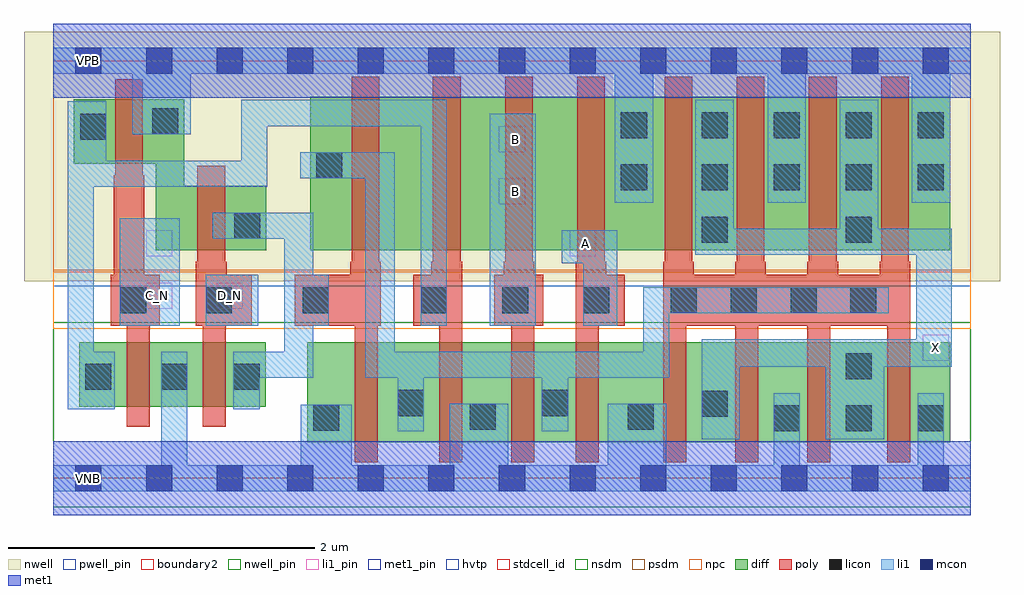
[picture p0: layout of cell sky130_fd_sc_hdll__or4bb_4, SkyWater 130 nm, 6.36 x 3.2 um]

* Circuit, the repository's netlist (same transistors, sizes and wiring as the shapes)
* Copyright 2020 The SkyWater PDK Authors
*
* Licensed under the Apache License, Version 2.0 (the "License");
* you may not use this file except in compliance with the License.
* You may obtain a copy of the License at
*
*     https://www.apache.org/licenses/LICENSE-2.0
*
* Unless required by applicable law or agreed to in writing, software
* distributed under the License is distributed on an "AS IS" BASIS,
* WITHOUT WARRANTIES OR CONDITIONS OF ANY KIND, either express or implied.
* See the License for the specific language governing permissions and
* limitations under the License.
*
* SPDX-License-Identifier: Apache-2.0

.SUBCKT sky130_fd_sc_hdll__or4bb_4 A B C_N D_N VGND VNB VPB VPWR X
*.PININFO A:I B:I C_N:I D_N:I VGND:I VNB:I VPB:I VPWR:I X:O
MMP0 VPWR A sndPA VPB sky130_fd_pr__pfet_01v8_hvt m=1 w=1.0U l=0.18U mult=1 sa=0.265
+ sb=0.265 sd=0.28 area=0.063 perim=1.14
MMP1 sndPA B sndPB VPB sky130_fd_pr__pfet_01v8_hvt m=1 w=1.0U l=0.18U mult=1 sa=0.265
+ sb=0.265 sd=0.28 area=0.063 perim=1.14
MMP2 sndPB C sndPC VPB sky130_fd_pr__pfet_01v8_hvt m=1 w=1.0U l=0.18U mult=1 sa=0.265
+ sb=0.265 sd=0.28 area=0.063 perim=1.14
MMP3 sndPC D y VPB sky130_fd_pr__pfet_01v8_hvt m=1 w=1.0U l=0.18U mult=1 sa=0.265
+ sb=0.265 sd=0.28 area=0.063 perim=1.14
MMIP2 C C_N VPWR VPB sky130_fd_pr__pfet_01v8_hvt m=1 w=0.42U l=0.18U mult=1 sa=0.265
+ sb=0.265 sd=0.28 area=0.063 perim=1.14
MMIP3 D D_N VPWR VPB sky130_fd_pr__pfet_01v8_hvt m=1 w=0.42U l=0.18U mult=1 sa=0.265
+ sb=0.265 sd=0.28 area=0.063 perim=1.14
MMIP4 X y VPWR VPB sky130_fd_pr__pfet_01v8_hvt m=4 w=1.0U l=0.18U mult=1 sa=0.265
+ sb=0.265 sd=0.28 area=0.063 perim=1.14
MMN0 y A VGND VNB sky130_fd_pr__nfet_01v8 m=1 w=0.65U l=0.15U mult=1 sa=0.265 sb=0.265
+ sd=0.28 area=0.063 perim=1.14
MMN1 y B VGND VNB sky130_fd_pr__nfet_01v8 m=1 w=0.65U l=0.15U mult=1 sa=0.265 sb=0.265
+ sd=0.28 area=0.063 perim=1.14
MMN2 y C VGND VNB sky130_fd_pr__nfet_01v8 m=1 w=0.65U l=0.15U mult=1 sa=0.265 sb=0.265
+ sd=0.28 area=0.063 perim=1.14
MMN3 y D VGND VNB sky130_fd_pr__nfet_01v8 m=1 w=0.65U l=0.15U mult=1 sa=0.265 sb=0.265
+ sd=0.28 area=0.063 perim=1.14
MMIN2 C C_N VGND VNB sky130_fd_pr__nfet_01v8 m=1 w=0.42U l=0.15U mult=1 sa=0.265
+ sb=0.265 sd=0.28 area=0.063 perim=1.14
MMIN3 D D_N VGND VNB sky130_fd_pr__nfet_01v8 m=1 w=0.42U l=0.15U mult=1 sa=0.265
+ sb=0.265 sd=0.28 area=0.063 perim=1.14
MMIN4 X y VGND VNB sky130_fd_pr__nfet_01v8 m=4 w=0.65U l=0.15U mult=1 sa=0.265
+ sb=0.265 sd=0.28 area=0.063 perim=1.14
.ENDS sky130_fd_sc_hdll__or4bb_4

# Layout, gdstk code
import gdstk
lib = gdstk.Library(unit=1e-6, precision=1e-09)
def R(c, l, rs):  # rectangles x0, y0, x1, y1
    for r in rs: c.add(gdstk.rectangle(r[:2], r[2:], *l))
def A(c, l, x, y, w, h, nx, ny, dx, dy):  # array of equal rectangles
    R(c, l, [(x+i*dx, y+j*dy, x+i*dx+w, y+j*dy+h) for i in range(nx) for j in range(ny)])
def P(c, l, *ps):  # polygons
    for p in ps: c.add(gdstk.Polygon(p, *l))
nwell_pin = (64, 16)
nwell = (64, 20)
diff = (65, 20)
poly = (66, 20)
licon = (66, 44)
li1_pin = (67, 16)
li1 = (67, 20)
mcon = (67, 44)
met1_pin = (68, 16)
met1 = (68, 20)
hvtp = (78, 44)
stdcell_id = (81, 4)
nsdm = (93, 44)
psdm = (94, 20)
npc = (95, 20)
pwell_pin = (122, 16)
boundary2 = (236, 0)

sky130_fd_sc_hdll__or4bb = lib.new_cell('sky130_fd_sc_hdll__or4bb_4')
R(sky130_fd_sc_hdll__or4bb, nwell_pin, [(0.145,2.635,0.315,2.805)])
R(sky130_fd_sc_hdll__or4bb, nwell, [(-0.19,1.285,6.17,2.91)])
R(sky130_fd_sc_hdll__or4bb, diff, [(1.655,0.235,5.845,0.885), (0.17,0.465,1.385,0.885), (1.675,1.485,5.845,2.485)])
P(sky130_fd_sc_hdll__or4bb, diff, [(1.39,1.905),(0.855,1.905),(0.855,2.47),(0.135,2.47),(0.135,2.05),(0.67,2.05),(0.67,1.485),(1.39,1.485)])
P(sky130_fd_sc_hdll__or4bb, poly, [(0.695,1.325),(0.595,1.325),(0.595,1.975),(0.585,1.975),(0.585,2.6),(0.405,2.6),(0.405,1.975),(0.395,1.975),(0.395,1.325),(0.375,1.325),(0.375,0.995),(0.48,0.995),(0.48,0.335),(0.63,0.335),(0.63,0.995),(0.695,0.995)],
  [(1.295,1.325),(1.13,1.325),(1.13,1.41),(1.12,1.41),(1.12,2.035),(0.94,2.035),(0.94,1.41),(0.93,1.41),(0.93,0.995),(0.975,0.995),(0.975,0.335),(1.125,0.335),(1.125,0.995),(1.295,0.995)],
  [(2.135,1.41),(2.125,1.41),(2.125,2.615),(1.945,2.615),(1.945,1.41),(1.935,1.41),(1.935,1.325),(1.575,1.325),(1.575,0.995),(1.965,0.995),(1.965,0.105),(2.115,0.105),(2.115,0.995),(2.135,0.995)],
  [(2.665,1.41),(2.655,1.41),(2.655,2.615),(2.475,2.615),(2.475,1.41),(2.465,1.41),(2.465,1.325),(2.345,1.325),(2.345,0.995),(2.515,0.995),(2.515,0.105),(2.665,0.105)],
  [(3.195,1.325),(3.135,1.325),(3.135,1.41),(3.125,1.41),(3.125,2.615),(2.945,2.615),(2.945,1.41),(2.935,1.41),(2.935,1.325),(2.875,1.325),(2.875,0.995),(2.985,0.995),(2.985,0.105),(3.135,0.105),(3.135,0.995),(3.195,0.995)],
  [(3.725,1.325),(3.605,1.325),(3.605,1.41),(3.595,1.41),(3.595,2.615),(3.415,2.615),(3.415,1.41),(3.405,1.41),(3.405,0.105),(3.555,0.105),(3.555,0.995),(3.725,0.995)],
  [(5.585,1.41),(5.575,1.41),(5.575,2.615),(5.395,2.615),(5.395,1.41),(5.385,1.41),(5.385,1.325),(5.115,1.325),(5.115,1.41),(5.105,1.41),(5.105,2.615),(4.925,2.615),(4.925,1.41),(4.915,1.41),(4.915,1.325),(4.645,1.325),(4.645,1.41),(4.635,1.41),(4.635,2.615),(4.455,2.615),(4.455,1.41),(4.445,1.41),(4.445,1.325),(4.175,1.325),(4.175,1.41),(4.165,1.41),(4.165,2.615),(3.985,2.615),(3.985,1.41),(3.975,1.41),(3.975,0.105),(4.125,0.105),(4.125,0.995),(4.445,0.995),(4.445,0.105),(4.595,0.105),(4.595,0.995),(4.915,0.995),(4.915,0.105),(5.065,0.105),(5.065,0.995),(5.435,0.995),(5.435,0.105),(5.585,0.105)])
A(sky130_fd_sc_hdll__or4bb, licon, 4.695, 0.305, 0.17, 0.17, 3, 1, 0.47, 0)
A(sky130_fd_sc_hdll__or4bb, licon, 2.395, 1.075, 0.17, 0.17, 3, 1, 0.53, 0)
A(sky130_fd_sc_hdll__or4bb, licon, 4.025, 1.075, 0.17, 0.17, 4, 1, 0.39, 0)
A(sky130_fd_sc_hdll__or4bb, licon, 4.225, 1.875, 0.17, 0.17, 4, 2, 0.47, 0.34)
R(sky130_fd_sc_hdll__or4bb, licon, [(1.695,0.31,1.865,0.48), (2.715,0.315,2.885,0.485), (3.745,0.315,3.915,0.485), (4.225,0.4,4.395,0.57), (2.245,0.405,2.415,0.575), (3.185,0.405,3.355,0.575), (0.21,0.575,0.38,0.745), (0.705,0.575,0.875,0.745), (1.175,0.575,1.345,0.745), (5.165,0.645,5.335,0.815), (0.435,1.075,0.605,1.245), (0.995,1.075,1.165,1.245), (1.625,1.075,1.795,1.245), (4.225,1.535,4.395,1.705), (5.165,1.535,5.335,1.705), (1.18,1.56,1.35,1.73), (3.7,1.875,3.87,2.045), (1.715,1.955,1.885,2.125), (0.175,2.205,0.345,2.375), (3.7,2.215,3.87,2.385), (0.645,2.24,0.815,2.41)])
R(sky130_fd_sc_hdll__or4bb, li1_pin, [(5.665,0.765,5.835,0.935), (0.605,1.105,0.775,1.275), (1.065,1.105,1.235,1.275), (0.605,1.445,0.775,1.615), (3.365,1.445,3.535,1.615), (2.905,1.785,3.075,1.955), (2.905,2.125,3.075,2.295)])
R(sky130_fd_sc_hdll__or4bb, li1, [(0.435,0.995,0.825,1.695), (0.995,0.995,1.335,1.325), (2.845,0.995,3.145,2.375)])
P(sky130_fd_sc_hdll__or4bb, li1, [(5.98,0.085),(5.805,0.085),(5.805,0.555),(5.635,0.555),(5.635,0.085),(4.865,0.085),(4.865,0.555),(4.695,0.555),(4.695,0.085),(3.995,0.085),(3.995,0.485),(3.615,0.485),(3.615,0.085),(2.965,0.085),(2.965,0.485),(2.585,0.485),(2.585,0.085),(1.945,0.085),(1.945,0.48),(1.615,0.48),(1.615,0.085),(0.875,0.085),(0.875,0.825),(0.705,0.825),(0.705,0.085),(0,0.085),(0,-0.085),(5.98,-0.085)],
  [(5.98,2.805),(0,2.805),(0,2.635),(0.515,2.635),(0.515,2.24),(0.895,2.24),(0.895,2.635),(3.66,2.635),(3.66,1.795),(3.91,1.795),(3.91,2.635),(4.655,2.635),(4.655,1.795),(4.905,1.795),(4.905,2.635),(5.595,2.635),(5.595,1.795),(5.845,1.795),(5.845,2.635),(5.98,2.635)],
  [(1.795,1.325),(1.695,1.325),(1.695,1.73),(1.04,1.73),(1.04,1.56),(1.505,1.56),(1.505,0.825),(1.175,0.825),(1.175,0.45),(1.345,0.45),(1.345,0.655),(1.695,0.655),(1.695,0.995),(1.795,0.995)],
  [(2.565,2.465),(1.225,2.465),(1.225,2.07),(0.345,2.07),(0.345,2.455),(0.095,2.455),(0.095,0.45),(0.4,0.45),(0.4,0.825),(0.265,0.825),(0.265,1.9),(1.395,1.9),(1.395,2.295),(2.395,2.295),(2.395,0.995),(2.565,0.995)],
  [(3.455,0.995),(3.455,1.4),(3.315,1.4),(3.315,1.615),(3.675,1.615),(3.675,0.995)],
  [(5.445,1.245),(3.845,1.245),(3.845,0.825),(2.225,0.825),(2.225,2.125),(1.61,2.125),(1.61,1.955),(2.035,1.955),(2.035,0.655),(2.245,0.655),(2.245,0.305),(2.415,0.305),(2.415,0.655),(3.185,0.655),(3.185,0.305),(3.355,0.305),(3.355,0.655),(4.015,0.655),(4.015,1.075),(5.445,1.075)],
  [(5.855,1.625),(5.375,1.625),(5.375,2.465),(5.125,2.465),(5.125,1.625),(4.435,1.625),(4.435,2.465),(4.185,2.465),(4.185,1.455),(5.625,1.455),(5.625,0.905),(4.225,0.905),(4.225,0.255),(4.475,0.255),(4.475,0.725),(5.035,0.725),(5.035,0.255),(5.415,0.255),(5.415,0.725),(5.855,0.725)])
A(sky130_fd_sc_hdll__or4bb, mcon, 0.145, -0.085, 0.17, 0.17, 13, 2, 0.46, 2.72)
R(sky130_fd_sc_hdll__or4bb, met1_pin, [(0.145,-0.085,0.315,0.085), (0.145,2.635,0.315,2.805)])
R(sky130_fd_sc_hdll__or4bb, met1, [(0,-0.24,5.98,0.24), (0,2.48,5.98,2.96)])
R(sky130_fd_sc_hdll__or4bb, hvtp, [(0,1.25,5.98,2.72)])
R(sky130_fd_sc_hdll__or4bb, stdcell_id, [(0,0,5.98,2.72)])
R(sky130_fd_sc_hdll__or4bb, nsdm, [(0,-0.19,5.98,1.015)])
R(sky130_fd_sc_hdll__or4bb, psdm, [(0,1.355,5.98,2.91)])
R(sky130_fd_sc_hdll__or4bb, npc, [(0,0.975,5.98,1.345)])
R(sky130_fd_sc_hdll__or4bb, pwell_pin, [(0.145,-0.085,0.315,0.085)])
R(sky130_fd_sc_hdll__or4bb, boundary2, [(0,0,5.98,2.72)])
sky130_fd_sc_hdll__or4bb.add(gdstk.Label('D_N', (1.15,1.19), layer=67, texttype=5))
sky130_fd_sc_hdll__or4bb.add(gdstk.Label('B', (3.01,2.21), layer=67, texttype=5))
sky130_fd_sc_hdll__or4bb.add(gdstk.Label('B', (3.01,1.87), layer=67, texttype=5))
sky130_fd_sc_hdll__or4bb.add(gdstk.Label('A', (3.47,1.53), layer=67, texttype=5))
sky130_fd_sc_hdll__or4bb.add(gdstk.Label('C_N', (0.68,1.19), layer=67, texttype=5))
sky130_fd_sc_hdll__or4bb.add(gdstk.Label('X', (5.75,0.85), layer=67, texttype=5))
sky130_fd_sc_hdll__or4bb.add(gdstk.Label('VNB', (0.23,0), layer=64, texttype=59))
sky130_fd_sc_hdll__or4bb.add(gdstk.Label('VPB', (0.23,2.72), layer=64, texttype=5))
sky130_fd_sc_hdll__or4bb.add(gdstk.Label('VGND', (0.23,0), layer=68, texttype=5))
sky130_fd_sc_hdll__or4bb.add(gdstk.Label('VPWR', (0.23,2.72), layer=68, texttype=5))

lib.write_gds('sky130_fd_sc_hdll__or4bb_4.gds')
